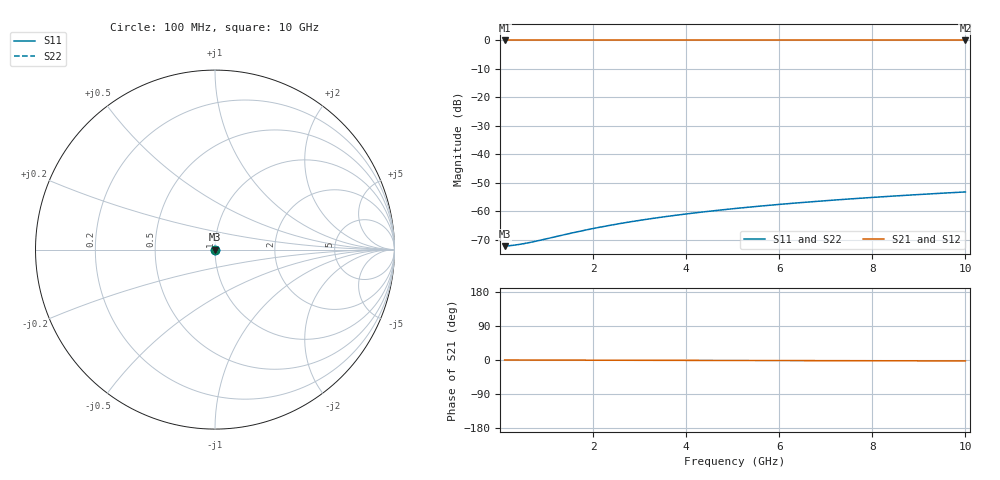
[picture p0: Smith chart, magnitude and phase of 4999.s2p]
# Hz S RI R 50.00
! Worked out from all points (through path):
!   100 points, 100 MHz to 10 GHz, reference 50 ohm
!   highest |S21| = 0.00 dB at 100 MHz (marker M1); lowest = 0.0 dB at 10 GHz (marker M2)
!   lowest |S11| = -72.3 dB at 100 MHz (marker M3), VSWR 1.00, Z = 50 - j0.00214 ohm
!   |S11| at or under -10 dB: start of sweep to end of sweep
!   |S22| runs from -72.3 to -53.3 dB; largest |S21 - S12| = 0
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1e8  0.000241 -2.14e-05  0.9998 -0.000427  0.9998 -0.000427  0.000241 -2.14e-05
2e8  0.000243 -4.28e-05  0.9998 -0.000854  0.9998 -0.000854  0.000243 -4.28e-05
3e8  0.000243 -6.42e-05  0.9998 -0.00128  0.9998 -0.00128  0.000243 -6.42e-05
4e8  0.000244 -8.56e-05  0.9998 -0.00171  0.9998 -0.00171  0.000244 -8.56e-05
6e8  0.000245 -0.000128  0.9997 -0.00256  0.9997 -0.00256  0.000245 -0.000128
8e8  0.000246 -0.000171  0.9997 -0.00342  0.9997 -0.00342  0.000246 -0.000171
1.4e9  0.000246 -0.0003  0.9997 -0.00598  0.9997 -0.00598  0.000246 -0.0003
1.8e9  0.000246 -0.000386  0.9997 -0.00769  0.9997 -0.00769  0.000246 -0.000386
2.2e9  0.000245 -0.000471  0.9997 -0.0094  0.9997 -0.0094  0.000245 -0.000471
2.6e9  0.000244 -0.000557  0.9997 -0.0111  0.9997 -0.0111  0.000244 -0.000557
3e9  0.000242 -0.000644  0.9997 -0.0128  0.9997 -0.0128  0.000242 -0.000644
3.4e9  0.000241 -0.00073  0.9996 -0.0145  0.9996 -0.0145  0.000241 -0.00073
3.8e9  0.000238 -0.000816  0.9996 -0.0162  0.9996 -0.0162  0.000238 -0.000816
4.2e9  0.000236 -0.000903  0.9996 -0.018  0.9996 -0.018  0.000236 -0.000903
4.6e9  0.000233 -0.000989  0.9995 -0.0197  0.9995 -0.0197  0.000233 -0.000989
5.1e9  0.000229 -0.0011  0.9995 -0.0218  0.9995 -0.0218  0.000229 -0.0011
5.9e9  0.000221 -0.00127  0.9994 -0.0252  0.9994 -0.0252  0.000221 -0.00127
6.7e9  0.000213 -0.00145  0.9993 -0.0287  0.9993 -0.0287  0.000213 -0.00145
7.5e9  0.000203 -0.00162  0.9992 -0.0321  0.9992 -0.0321  0.000203 -0.00162
8.4e9  0.00019 -0.00182  0.9991 -0.0359  0.9991 -0.0359  0.00019 -0.00182
9.2e9  0.000178 -0.00199  0.9989 -0.0394  0.9989 -0.0394  0.000178 -0.00199
1e10  0.000164 -0.00217  0.9988 -0.0428  0.9988 -0.0428  0.000164 -0.00217
